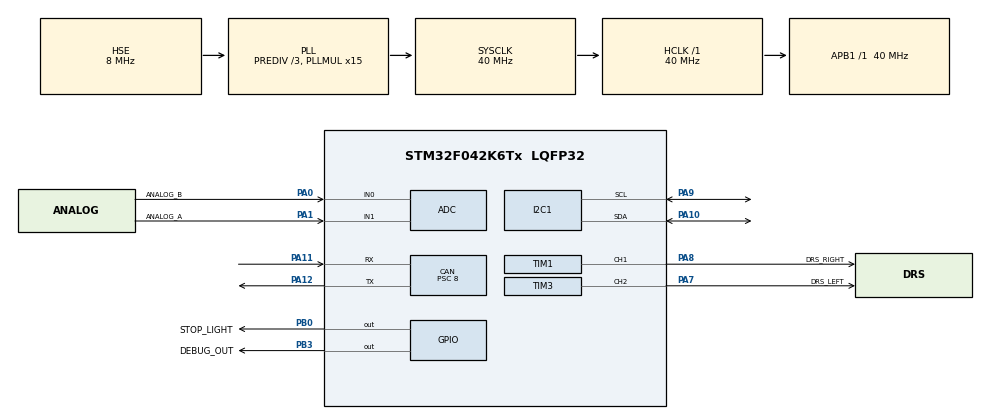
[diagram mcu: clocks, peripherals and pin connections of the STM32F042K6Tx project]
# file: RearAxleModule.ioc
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CAN.BS1=CAN_BS1_14TQ
CAN.BS2=CAN_BS2_5TQ
CAN.CalculateTimeBit=4000
CAN.CalculateTimeQuantum=200.0
CAN.Prescaler=8
CAN.SJW=CAN_SJW_3TQ
I2C1.Timing=0x00909BEB
Mcu.Family=STM32F0
Mcu.Name=STM32F042K6Tx
Mcu.Package=LQFP32
NVIC.CEC_CAN_IRQn=true\:0\:0\:false\:false\:true
PA0.GPIO_Label=ANALOG_B
PA0.Mode=IN0
PA0.Signal=ADC_IN0
PA1.GPIO_Label=ANALOG_A
PA1.Mode=IN1
PA1.Signal=ADC_IN1
PA10.Mode=I2C
PA10.Signal=I2C1_SDA
PA11.GPIO_PuPd=GPIO_PULLDOWN
PA11.Mode=Master
PA11.Signal=CAN_RX
PA12.GPIO_PuPd=GPIO_PULLDOWN
PA12.Mode=Master
PA12.Signal=CAN_TX
PA7.GPIO_Label=DRS_LEFT
PA7.Signal=S_TIM3_CH2
PA8.GPIO_Label=DRS_RIGHT
PA8.Signal=S_TIM1_CH1
PA9.Mode=I2C
PA9.Signal=I2C1_SCL
PB0.GPIO_Label=STOP_LIGHT
PB0.Signal=GPIO_Output
PB3.GPIO_Label=DEBUG_OUT
PB3.GPIO_Speed=GPIO_SPEED_FREQ_HIGH
PB3.Signal=GPIO_Output
PF0-OSC_IN.Mode=HSE-External-Oscillator
PF0-OSC_IN.Signal=RCC_OSC_IN
PF1-OSC_OUT.Mode=HSE-External-Oscillator
PF1-OSC_OUT.Signal=RCC_OSC_OUT
ProjectManager.HeapSize=0x200
ProjectManager.StackSize=0x400
ProjectManager.TargetToolchain=Makefile
RCC.AHBFreq_Value=40000000
RCC.APB1Freq_Value=40000000
RCC.APB1TimFreq_Value=40000000
RCC.HCLKFreq_Value=40000000
RCC.I2c1ClockSelection=RCC_I2C1CLKSOURCE_SYSCLK
RCC.PLLDivider=RCC_PREDIV_DIV3
RCC.PLLMUL=RCC_PLL_MUL15
RCC.PLLSourceVirtual=RCC_PLLSOURCE_HSE
RCC.SYSCLKFreq_VALUE=40000000
RCC.SYSCLKSource=RCC_SYSCLKSOURCE_PLLCLK
SH.S_TIM1_CH1.0=TIM1_CH1,PWM Generation1 CH1
SH.S_TIM3_CH2.0=TIM3_CH2,PWM Generation2 CH2
TIM1.Channel-PWM\ Generation1\ CH1=TIM_CHANNEL_1
TIM3.Channel-PWM\ Generation2\ CH2=TIM_CHANNEL_2
board=RearAxleModule

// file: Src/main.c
/**
  ******************************************************************************
  * File Name          : main.c
  * Description        : Main program body
  ******************************************************************************
  ** This notice applies to any and all portions of this file
  * that are not between comment pairs USER CODE BEGIN and
  * USER CODE END. Other portions of this file, whether
  * inserted by the user or by software development tools
  * are owned by their respective copyright owners.
  *
  * COPYRIGHT(c) 2017 STMicroelectronics
  *
  * Redistribution and use in source and binary forms, with or without modification,
  * are permitted provided that the following conditions are met:
  *   1. Redistributions of source code must retain the above copyright notice,
  *      this list of conditions and the following disclaimer.
  *   2. Redistributions in binary form must reproduce the above copyright notice,
  *      this list of conditions and the following disclaimer in the documentation
  *      and/or other materials provided with the distribution.
  *   3. Neither the name of STMicroelectronics nor the names of its contributors
  *      may be used to endorse or promote products derived from this software
  *      without specific prior written permission.
  *
  * THIS SOFTWARE IS PROVIDED BY THE COPYRIGHT HOLDERS AND CONTRIBUTORS "AS IS"
  * AND ANY EXPRESS OR IMPLIED WARRANTIES, INCLUDING, BUT NOT LIMITED TO, THE
  * IMPLIED WARRANTIES OF MERCHANTABILITY AND FITNESS FOR A PARTICULAR PURPOSE ARE
  * DISCLAIMED. IN NO EVENT SHALL THE COPYRIGHT HOLDER OR CONTRIBUTORS BE LIABLE
  * FOR ANY DIRECT, INDIRECT, INCIDENTAL, SPECIAL, EXEMPLARY, OR CONSEQUENTIAL
  * DAMAGES (INCLUDING, BUT NOT LIMITED TO, PROCUREMENT OF SUBSTITUTE GOODS OR
  * SERVICES; LOSS OF USE, DATA, OR PROFITS; OR BUSINESS INTERRUPTION) HOWEVER
  * CAUSED AND ON ANY THEORY OF LIABILITY, WHETHER IN CONTRACT, STRICT LIABILITY,
  * OR TORT (INCLUDING NEGLIGENCE OR OTHERWISE) ARISING IN ANY WAY OUT OF THE USE
  * OF THIS SOFTWARE, EVEN IF ADVISED OF THE POSSIBILITY OF SUCH DAMAGE.
  *
  ******************************************************************************
  */
#include "main.h"
#include "stm32f0xx_hal.h"
#include "adc.h"
#include "can.h"
#include "i2c.h"
#include "tim.h"
#include "gpio.h"

/* USER CODE BEGIN Includes */
#include "tm_stm32_mpu6050.h"
#include "stop_light.h"
//#include "actual_data_provider.h"
//#include "can_receiver_driver.h"
#include "CANhandler.h"
/* USER CODE END Includes */

/* USER CODE BEGIN PV */
/* Private variables ---------------------------------------------------------*/

/* USER CODE END PV */

void SystemClock_Config(void);

/* USER CODE BEGIN PFP */
/* Private function prototypes -----------------------------------------------*/

/* USER CODE END PFP */

int main(void)
{

  /* USER CODE BEGIN 1 */
	TM_MPU6050_t MPU6050_Data;
	TM_MPU6050_Interrupt_t	MPU6050_Interrupts;
  /* USER CODE END 1 */

  /* MCU Configuration----------------------------------------------------------*/

  /* Reset of all peripherals, Initializes the Flash interface and the Systick. */
  HAL_Init();

  /* Configure the system clock */
  SystemClock_Config();

  /* Initialize all configured peripherals */
  MX_GPIO_Init();
  MX_CAN_Init();
  MX_I2C1_Init();
  MX_ADC_Init();
  MX_TIM1_Init();
  MX_TIM3_Init();

  /* USER CODE BEGIN 2 */
  TM_MPU6050_Init(&MPU6050_Data, TM_MPU6050_Device_0, TM_MPU6050_Accelerometer_8G, TM_MPU6050_Gyroscope_250s, TM_MPU6050_Bandwidth_94Hz);
  TM_MPU6050_EnableInterrupts(&MPU6050_Data);
  TM_MPU6050_GeneralCallib(&MPU6050_Data);
  //TM_MPU6050_FastCallib(&MPU6050_Data);
  MPU6050_Data.Accelerometer_Offset.x = 0;
  MPU6050_Data.Accelerometer_Offset.y = 0;
  MPU6050_Data.Accelerometer_Offset.z = 0;
  MPU6050_Data.Gyroscope_Offset.x = 0;
  MPU6050_Data.Gyroscope_Offset.y = 0;
  MPU6050_Data.Gyroscope_Offset.z = 0;
  /* USER CODE END 2 */

  /* Infinite loop */
  /* USER CODE BEGIN WHILE */

  //ActualDataProvider_init();
  CANhandler_Init();
  while (1)
  {
  /* USER CODE END WHILE */

  /* USER CODE BEGIN 3 */

//	TM_MPU6050_ReadInterrupts(&MPU6050_Data, &MPU6050_Interrupts);
//	if(MPU6050_Interrupts.F.DataReady){
//		TM_MPU6050_ReadGyroscope(&MPU6050_Data);
//		TM_MPU6050_ReadAccelerometer(&MPU6050_Data);
//		TM_MPU6050_CompensateRawData(&MPU6050_Data);
//	}

	CANhandler_Handler();

//	SET_CAN_DATA(DATA_R_ACC_X, (uint16_t)(MPU6050_Data.Accelerometer_Compensated.x * 100));
//	SET_CAN_DATA(DATA_R_ACC_Y, (uint16_t)(MPU6050_Data.Accelerometer_Compensated.y * 100));
//	SET_CAN_DATA(DATA_R_ACC_Z, (uint16_t)(MPU6050_Data.Accelerometer_Compensated.y * 100));
//
//	SET_CAN_DATA(DATA_R_GYR_X, (uint16_t)(MPU6050_Data.Gyroscope_Compensated.x * 10));
//	SET_CAN_DATA(DATA_R_GYR_Y, (uint16_t)(MPU6050_Data.Gyroscope_Compensated.y * 10));
//	SET_CAN_DATA(DATA_R_GYR_Z, (uint16_t)(MPU6050_Data.Gyroscope_Compensated.z * 10));

	if((GET_CAN_DATA(DATA_STOP_LIGHT) * GET_CAN_DATA_VALIDATION(DATA_STOP_LIGHT)) == 0xFF){
	  StopLight_Set();
	}
	else{
	  StopLight_Clr();
	}
//	if( (int16_t) ActualDataProvider_getValue(STOP_DATA_CHANNEL) == 0xFF){
//		StopLight_Set();
//	}
//	else{
//		StopLight_Clr();
//	}

  }
  /* USER CODE END 3 */

}

/** System Clock Configuration
*/
void SystemClock_Config(void)
{

  RCC_OscInitTypeDef RCC_OscInitStruct;
  RCC_ClkInitTypeDef RCC_ClkInitStruct;
  RCC_PeriphCLKInitTypeDef PeriphClkInit;

    /**Initializes the CPU, AHB and APB busses clocks
    */
  RCC_OscInitStruct.OscillatorType = RCC_OSCILLATORTYPE_HSI14|RCC_OSCILLATORTYPE_HSE;
  RCC_OscInitStruct.HSEState = RCC_HSE_ON;
  RCC_OscInitStruct.HSIState = RCC_HSI_ON;
  RCC_OscInitStruct.HSI14State = RCC_HSI14_ON;
  RCC_OscInitStruct.HSI14CalibrationValue = 16;
  RCC_OscInitStruct.PLL.PLLState = RCC_PLL_ON;
  RCC_OscInitStruct.PLL.PLLSource = RCC_PLLSOURCE_HSE;
  RCC_OscInitStruct.PLL.PLLMUL = RCC_PLL_MUL15;
  RCC_OscInitStruct.PLL.PREDIV = RCC_PREDIV_DIV3;
  if (HAL_RCC_OscConfig(&RCC_OscInitStruct) != HAL_OK)
  {
    _Error_Handler(__FILE__, __LINE__);
  }

    /**Initializes the CPU, AHB and APB busses clocks
    */
  RCC_ClkInitStruct.ClockType = RCC_CLOCKTYPE_HCLK|RCC_CLOCKTYPE_SYSCLK
                              |RCC_CLOCKTYPE_PCLK1;
  RCC_ClkInitStruct.SYSCLKSource = RCC_SYSCLKSOURCE_PLLCLK;
  RCC_ClkInitStruct.AHBCLKDivider = RCC_SYSCLK_DIV1;
  RCC_ClkInitStruct.APB1CLKDivider = RCC_HCLK_DIV1;

  if (HAL_RCC_ClockConfig(&RCC_ClkInitStruct, FLASH_LATENCY_1) != HAL_OK)
  {
    _Error_Handler(__FILE__, __LINE__);
  }

  PeriphClkInit.PeriphClockSelection = RCC_PERIPHCLK_I2C1;
  PeriphClkInit.I2c1ClockSelection = RCC_I2C1CLKSOURCE_SYSCLK;
  if (HAL_RCCEx_PeriphCLKConfig(&PeriphClkInit) != HAL_OK)
  {
    _Error_Handler(__FILE__, __LINE__);
  }

    /**Configure the Systick interrupt time
    */
  HAL_SYSTICK_Config(HAL_RCC_GetHCLKFreq()/1000);

    /**Configure the Systick
    */
  HAL_SYSTICK_CLKSourceConfig(SYSTICK_CLKSOURCE_HCLK);

  /* SysTick_IRQn interrupt configuration */
  HAL_NVIC_SetPriority(SysTick_IRQn, 0, 0);
}

void _Error_Handler(char * file, int line)
{
  while(1)
  {
  }
}

/************************ (C) COPYRIGHT STMicroelectronics *****END OF FILE****/
